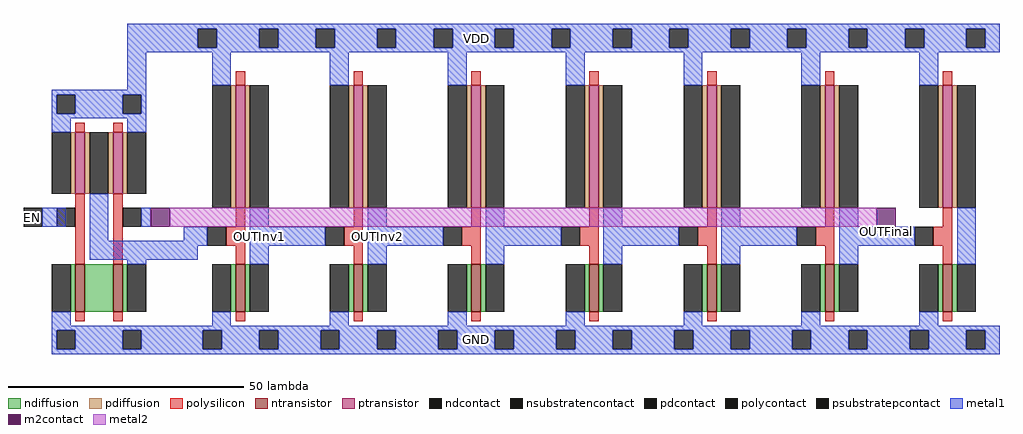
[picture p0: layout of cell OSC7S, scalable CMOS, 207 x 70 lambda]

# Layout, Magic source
magic
tech scmos
<< metal1 >>
rect 12 64 26 70
rect 46 64 52 70
rect 71 64 76 70
rect 96 64 100 70
rect 121 64 126 70
rect 146 64 151 70
rect 171 64 175 70
rect 12 56 16 64
rect -6 27 -1 31
rect 15 27 17 31
rect 24 24 28 27
rect 16 23 28 24
rect 42 23 52 27
rect 67 23 76 27
rect 92 23 102 27
rect 117 23 126 27
rect 142 23 152 27
rect 167 23 177 27
rect 16 20 27 23
rect 15 0 26 6
rect 46 0 51 6
rect 71 0 77 6
rect 96 0 101 6
rect 121 0 126 6
rect 146 0 152 6
rect 171 0 176 6
<< metal2 >>
rect 21 27 171 31
<< polycontact >>
rect -10 27 -6 31
<< m2contact >>
rect 17 27 21 31
rect 171 27 175 31
use NANDXFin  NANDXFin_0 ~/Desktop/prove/NAND
transform 1 0 16 0 1 8
box -20 -8 0 48
use inverterX  inverterX_0 ~/Desktop/prove/INVERTER
transform 1 0 40 0 1 14
box -15 -14 7 56
use inverterX  inverterX_1
transform 1 0 65 0 1 14
box -15 -14 7 56
use inverterX  inverterX_2
transform 1 0 90 0 1 14
box -15 -14 7 56
use inverterX  inverterX_3
transform 1 0 115 0 1 14
box -15 -14 7 56
use inverterX  inverterX_4
transform 1 0 140 0 1 14
box -15 -14 7 56
use inverterX  inverterX_5
transform 1 0 165 0 1 14
box -15 -14 7 56
use inverterX  inverterX_6
transform 1 0 190 0 1 14
box -15 -14 7 56
<< labels >>
rlabel polycontact -8 29 -8 29 3 EN
rlabel space 40 25 40 25 1 OUTInv1
rlabel space 65 25 65 25 1 OUTInv2
rlabel space 86 3 86 3 1 GND
rlabel space 86 67 86 67 5 VDD
rlabel metal1 173 26 173 26 1 OUTFinal
<< end >>

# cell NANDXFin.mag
magic
tech scmos
<< polysilicon >>
rect -15 39 -13 41
rect -7 39 -5 41
rect -15 11 -13 26
rect -7 11 -5 26
rect -15 -1 -13 1
rect -7 -1 -5 1
<< ndiffusion >>
rect -16 1 -15 11
rect -13 1 -7 11
rect -5 1 -4 11
<< pdiffusion >>
rect -16 26 -15 39
rect -13 26 -12 39
rect -8 26 -7 39
rect -5 26 -4 39
<< metal1 >>
rect -20 47 0 48
rect -20 43 -19 47
rect -15 43 -5 47
rect -1 43 0 47
rect -20 42 0 43
rect -20 39 -16 42
rect -4 39 0 42
rect -12 16 -8 26
rect -1 19 0 23
rect -12 12 0 16
rect -4 11 0 12
rect -20 -2 -16 1
rect -20 -3 0 -2
rect -20 -7 -19 -3
rect -15 -7 -5 -3
rect -1 -7 0 -3
rect -20 -8 0 -7
<< ntransistor >>
rect -15 1 -13 11
rect -7 1 -5 11
<< ptransistor >>
rect -15 26 -13 39
rect -7 26 -5 39
<< polycontact >>
rect -19 19 -15 23
rect -5 19 -1 23
<< ndcontact >>
rect -20 1 -16 11
rect -4 1 0 11
<< pdcontact >>
rect -20 26 -16 39
rect -12 26 -8 39
rect -4 26 0 39
<< psubstratepcontact >>
rect -19 -7 -15 -3
rect -5 -7 -1 -3
<< nsubstratencontact >>
rect -19 43 -15 47
rect -5 43 -1 47
<< labels >>
rlabel polycontact -18 21 -18 21 3 IN1
rlabel metal1 -10 47 -10 47 5 VDD
rlabel metal1 -10 -5 -10 -5 1 GND
rlabel metal1 -2 14 -2 14 7 OUT
rlabel polycontact -1 21 -1 21 7 IN2
<< end >>

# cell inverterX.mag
magic
tech scmos
<< polysilicon >>
rect -5 43 -3 46
rect -5 13 -3 17
rect -7 9 -3 13
rect -5 5 -3 9
rect -5 -7 -3 -5
<< ndiffusion >>
rect -6 -5 -5 5
rect -3 -5 -2 5
<< pdiffusion >>
rect -6 17 -5 43
rect -3 17 -2 43
<< metal1 >>
rect -15 55 7 56
rect -15 51 -13 55
rect -9 51 0 55
rect 4 51 7 55
rect -15 50 7 51
rect -10 43 -6 50
rect -14 9 -11 13
rect -2 5 2 17
rect -10 -8 -6 -5
rect -15 -9 7 -8
rect -15 -13 -12 -9
rect -8 -13 0 -9
rect 4 -13 7 -9
rect -15 -14 7 -13
<< ntransistor >>
rect -5 -5 -3 5
<< ptransistor >>
rect -5 17 -3 43
<< polycontact >>
rect -11 9 -7 13
<< ndcontact >>
rect -10 -5 -6 5
rect -2 -5 2 5
<< pdcontact >>
rect -10 17 -6 43
rect -2 17 2 43
<< psubstratepcontact >>
rect -13 51 -9 55
rect 0 51 4 55
rect -12 -13 -8 -9
rect 0 -13 4 -9
<< labels >>
rlabel metal1 -6 -12 -6 -12 1 GND
rlabel metal1 0 12 0 12 1 OUT
rlabel metal1 -13 11 -13 11 3 IN
rlabel metal1 -5 53 -5 53 5 VDD
<< end >>
